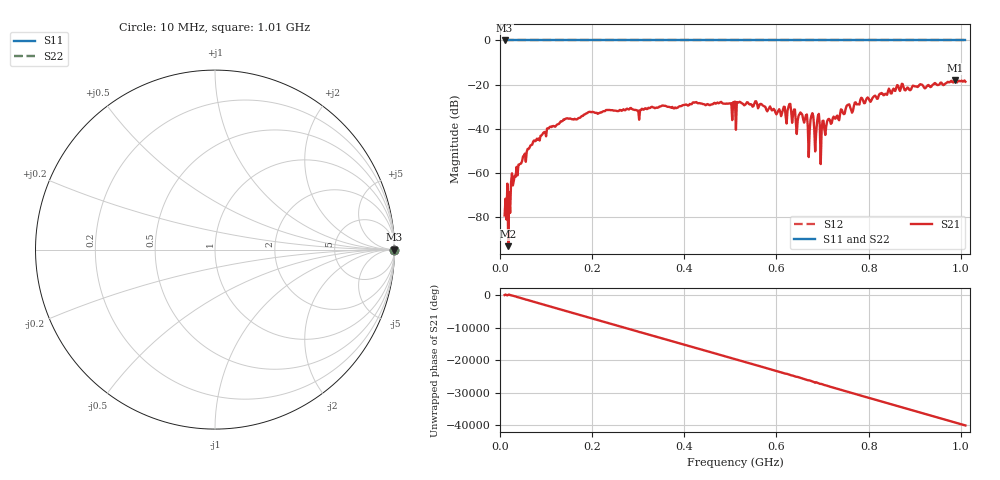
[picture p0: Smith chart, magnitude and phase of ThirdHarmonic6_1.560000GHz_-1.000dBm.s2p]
! 8/16/2025 6:32:10 PM
! C:\ANRITSUVNA\TEMP\TEMP.S2P
! CHANNEL.1
! TR.MEASUREMENT
! RAW.DATA
! RF.CORRECTION.OFF
! AVERAGING.OFF
! IF.BANDWIDTH: 5KHZ
! SWEEPTYPE:  FREQ.SWEEP(Linear)
! Reference Plane Port Info
! PORT:  PORT1  PORT2
! DISTANCE:  0  m  0  m
! TIME:  0  s  0  s
! PHASE.OFFSET:  0  deg.  0  deg.
! LOSS:  0  dB  0  dB
! REF.LOSS:  0  dB  0  dB
! REF.FREQ:  0  Hz  0  Hz
! Power Info
! POWER:  -20  dBm  -20  dBm
! EFF.POWER:  -20  dBm  -20  dBm
! SOURCE.ATTEN:  0  dB  0  dB
! TEST.ATTEN:  0  dB  0  dB
# GHZ S RI R 50.0
! FREQ.GHZ  S11RE  S11IM  S21RE  S21IM  S12RE  S12IM  S22RE  S22IM
!; PortSelection: Port_12
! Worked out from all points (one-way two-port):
!   501 points, 10 MHz to 1.01 GHz, reference 50 ohm
!   highest |S21| = -18.14 dB at 988 MHz (marker M1); lowest = -93.4 dB at 18 MHz (marker M2)
!   lowest |S11| = 0.0 dB at 10 MHz (marker M3)
!   |S11| at or under -10 dB: nowhere
!   |S22| runs from 0.0 to 0.0 dB; largest |S21 - S12| = 1.1
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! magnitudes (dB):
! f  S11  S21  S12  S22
! 10 MHz  0.0  -79.4  0.0  0.0
! 18 MHz  0.0  -93.4  0.0  0.0
! 28 MHz  0.0  -65.8  0.0  0.0
! 70 MHz  0.0  -47.3  0.0  0.0
! 106 MHz  0.0  -39.9  0.0  0.0
! 178 MHz  0.0  -34.3  0.0  0.0
! 344 MHz  0.0  -30.4  0.0  0.0
! 510 MHz  0.0  -27.8  0.0  0.0
! 628 MHz  0.0  -28.9  0.0  0.0
! 646 MHz  0.0  -36.4  0.0  0.0
! 652 MHz  0.0  -32.7  0.0  0.0
! 662 MHz  0.0  -35.6  0.0  0.0
! 672 MHz  0.0  -41.1  0.0  0.0
! 678 MHz  0.0  -33.0  0.0  0.0
! 684 MHz  0.0  -50.4  0.0  0.0
! 690 MHz  0.0  -34.2  0.0  0.0
! 700 MHz  0.0  -36.5  0.0  0.0
! 712 MHz  0.0  -35.8  0.0  0.0
! 754 MHz  0.0  -29.3  0.0  0.0
! 844 MHz  0.0  -21.9  0.0  0.0
! 988 MHz  0.0  -18.1  0.0  0.0
! 1.01 GHz  0.0  -18.7  0.0  0.0
